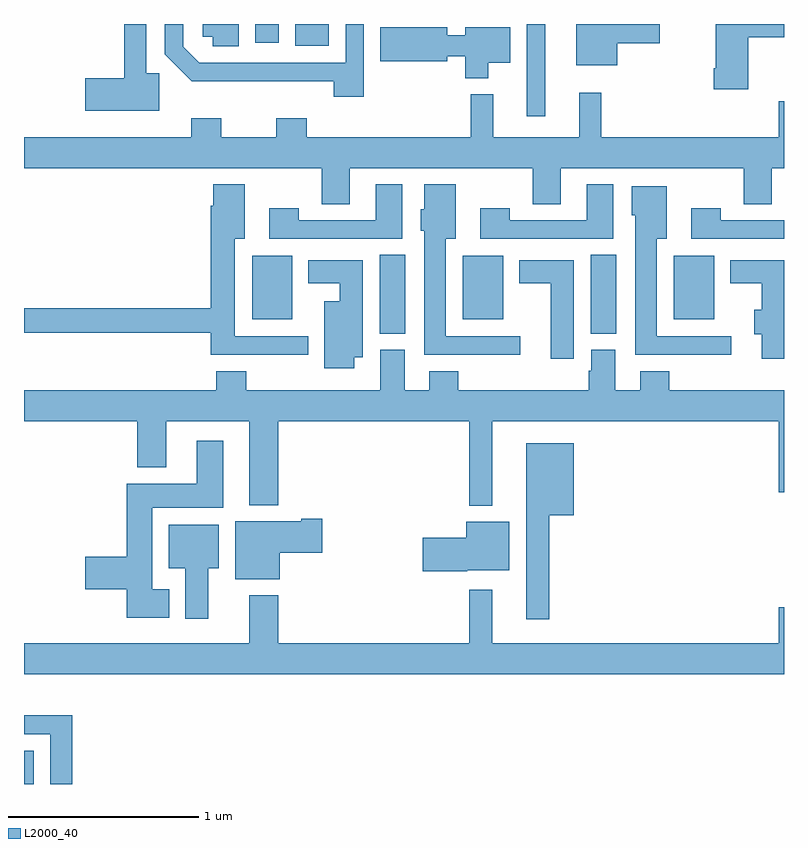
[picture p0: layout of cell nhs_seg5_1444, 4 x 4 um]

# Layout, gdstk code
import gdstk
lib = gdstk.Library(unit=1e-6, precision=1e-09)
def R(c, l, rs):  # rectangles x0, y0, x1, y1
    for r in rs: c.add(gdstk.rectangle(r[:2], r[2:], *l))
def A(c, l, x, y, w, h, nx, ny, dx, dy):  # array of equal rectangles
    R(c, l, [(x+i*dx, y+j*dy, x+i*dx+w, y+j*dy+h) for i in range(nx) for j in range(ny)])
def P(c, l, *ps):  # polygons
    for p in ps: c.add(gdstk.Polygon(p, *l))
L2000_40 = (2000, 40)

nhs_seg5_1444 = lib.new_cell('nhs_seg5_1444')
A(nhs_seg5_1444, L2000_40, 198.2, 909.245, 0.212, 0.335, 3, 1, 1.11, 0)
R(nhs_seg5_1444, L2000_40, [(197,906.799,197.05,906.973), (198.872,909.169,199.006,909.584), (199.982,909.169,200.116,909.584), (199.647,910.314,199.744,910.799), (198.428,910.685,198.604,910.799), (198.218,910.701,198.34,910.799)])
P(nhs_seg5_1444, L2000_40, [(198.13,910.799),(197.942,910.799),(197.942,910.731),(197.994,910.731),(197.994,910.681),(198.13,910.681)],
  [(200.122,910.697),(200.347,910.697),(200.347,910.799),(199.907,910.799),(199.907,910.583),(200.122,910.583)],
  [(200.813,910.728),(201,910.728),(201,910.799),(200.642,910.799),(200.642,910.567),(200.63,910.567),(200.63,910.455),(200.813,910.455)],
  [(198.789,910.799),(198.693,910.799),(198.693,910.596),(197.922,910.596),(197.838,910.68),(197.838,910.799),(197.742,910.799),(197.742,910.64),(197.883,910.499),(198.629,910.499),(198.629,910.416),(198.789,910.416)],
  [(197.712,910.539),(197.643,910.539),(197.643,910.799),(197.527,910.799),(197.527,910.514),(197.322,910.514),(197.322,910.343),(197.712,910.343)],
  [(199.444,910.595),(199.558,910.595),(199.558,910.783),(199.322,910.783),(199.322,910.739),(199.228,910.739),(199.228,910.781),(198.876,910.781),(198.876,910.603),(199.228,910.603),(199.228,910.629),(199.322,910.629),(199.322,910.514),(199.444,910.514)],
  [(198.715,910.04),(199.678,910.04),(199.678,909.85),(199.825,909.85),(199.825,910.04),(200.788,910.04),(200.788,909.85),(200.935,909.85),(200.935,910.04),(201,910.04),(201,910.393),(200.972,910.393),(200.972,910.204),(200.039,910.204),(200.039,910.438),(199.922,910.438),(199.922,910.204),(199.469,910.204),(199.469,910.429),(199.351,910.429),(199.351,910.204),(198.488,910.204),(198.488,910.303),(198.328,910.303),(198.328,910.204),(198.039,910.204),(198.039,910.303),(197.879,910.303),(197.879,910.204),(197,910.204),(197,910.04),(198.568,910.04),(198.568,909.85),(198.715,909.85)],
  [(200.101,909.955),(199.961,909.955),(199.961,909.765),(199.557,909.765),(199.557,909.829),(199.401,909.829),(199.401,909.669),(200.101,909.669)],
  [(198.991,909.955),(198.851,909.955),(198.851,909.765),(198.447,909.765),(198.447,909.829),(198.291,909.829),(198.291,909.669),(198.991,909.669)],
  [(198.496,909.156),(198.109,909.156),(198.109,909.668),(198.163,909.668),(198.163,909.955),(197.996,909.955),(197.996,909.842),(197.984,909.842),(197.984,909.302),(197,909.302),(197,909.174),(197.984,909.174),(197.984,909.059),(198.496,909.059)],
  [(199.612,909.156),(199.219,909.156),(199.219,909.668),(199.273,909.668),(199.273,909.955),(199.106,909.955),(199.106,909.825),(199.088,909.825),(199.088,909.711),(199.106,909.711),(199.106,909.059),(199.612,909.059)],
  [(200.722,909.156),(200.329,909.156),(200.329,909.668),(200.383,909.668),(200.383,909.946),(200.198,909.946),(200.198,909.792),(200.216,909.792),(200.216,909.059),(200.722,909.059)],
  [(201,909.765),(200.667,909.765),(200.667,909.829),(200.511,909.829),(200.511,909.669),(201,909.669)],
  [(201,909.556),(200.717,909.556),(200.717,909.434),(200.882,909.434),(200.882,909.295),(200.843,909.295),(200.843,909.166),(200.882,909.166),(200.882,909.036),(201,909.036)],
  [(198.739,909.044),(198.784,909.044),(198.784,909.556),(198.497,909.556),(198.497,909.434),(198.662,909.434),(198.662,909.34),(198.581,909.34),(198.581,908.988),(198.739,908.988)],
  [(199.894,909.556),(199.607,909.556),(199.607,909.434),(199.772,909.434),(199.772,909.036),(199.894,909.036)],
  [(199.465,908.708),(200.972,908.708),(200.972,908.334),(201,908.334),(201,908.872),(200.396,908.872),(200.396,908.971),(200.243,908.971),(200.243,908.872),(200.113,908.872),(200.113,909.084),(199.985,909.084),(199.985,908.973),(199.973,908.973),(199.973,908.872),(199.286,908.872),(199.286,908.971),(199.133,908.971),(199.133,908.872),(199.003,908.872),(199.003,909.084),(198.875,909.084),(198.875,908.872),(198.171,908.872),(198.171,908.971),(198.011,908.971),(198.011,908.872),(197,908.872),(197,908.708),(197.597,908.708),(197.597,908.465),(197.749,908.465),(197.749,908.708),(198.185,908.708),(198.185,908.267),(198.338,908.267),(198.338,908.708),(199.344,908.708),(199.344,908.264),(199.465,908.264)],
  [(197.764,907.825),(197.674,907.825),(197.674,908.252),(198.049,908.252),(198.049,908.605),(197.909,908.605),(197.909,908.38),(197.54,908.38),(197.54,907.994),(197.322,907.994),(197.322,907.823),(197.54,907.823),(197.54,907.673),(197.764,907.673)],
  [(199.765,908.213),(199.894,908.213),(199.894,908.593),(199.643,908.593),(199.643,907.665),(199.765,907.665)],
  [(198.346,908.017),(198.571,908.017),(198.571,908.195),(198.458,908.195),(198.458,908.182),(198.113,908.182),(198.113,907.877),(198.346,907.877)],
  [(199.332,907.925),(199.555,907.925),(199.555,908.179),(199.328,908.179),(199.328,908.096),(199.098,908.096),(199.098,907.918),(199.332,907.918)],
  [(197.971,907.934),(198.025,907.934),(198.025,908.164),(197.762,908.164),(197.762,907.934),(197.849,907.934),(197.849,907.668),(197.971,907.668)],
  [(201,907.729),(200.972,907.729),(200.972,907.54),(199.465,907.54),(199.465,907.822),(199.344,907.822),(199.344,907.54),(198.338,907.54),(198.338,907.792),(198.185,907.792),(198.185,907.54),(197,907.54),(197,907.376),(201,907.376)],
  [(197.255,907.16),(197,907.16),(197,907.062),(197.139,907.062),(197.139,906.799),(197.255,906.799)])

lib.write_gds('nhs_seg5_1444.gds')
